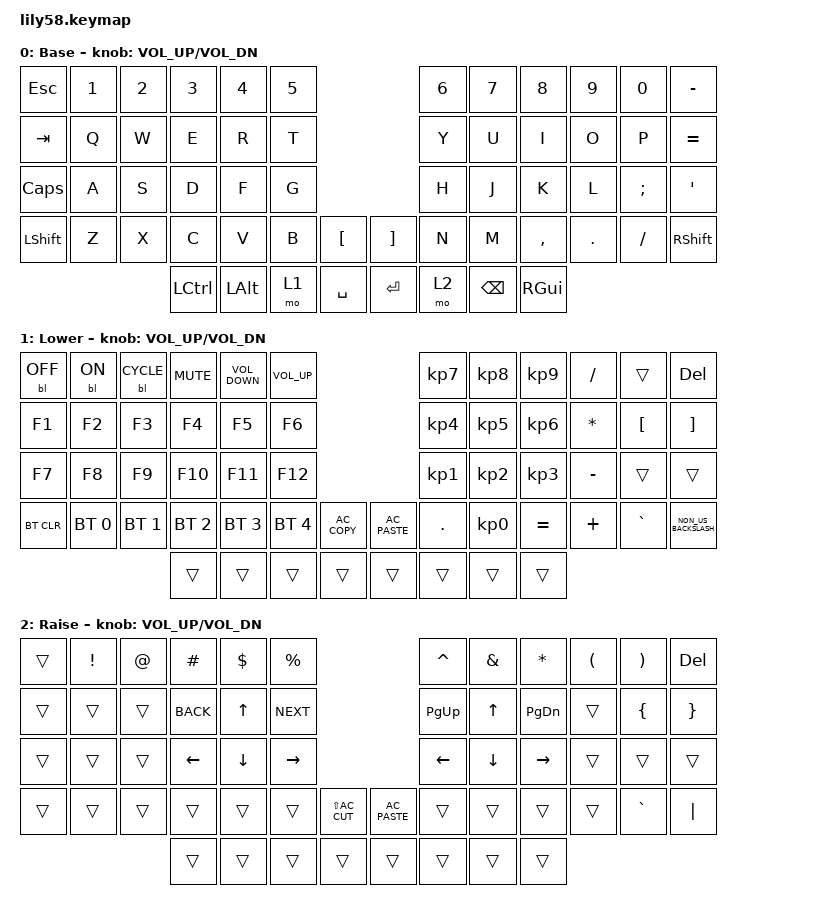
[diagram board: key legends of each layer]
/*
 * Copyright (c) 2020 The ZMK Contributors
 *
 * SPDX-License-Identifier: MIT
 */

#include <behaviors.dtsi>
#include <dt-bindings/zmk/backlight.h>
#include <dt-bindings/zmk/bt.h>
#include <dt-bindings/zmk/keys.h>

/ {
    keymap {
        compatible = "zmk,keymap";

        default_layer {
            // ------------------------------------------------------------------------------------------------------------
            // |  ESC  |  1  |  2  |  3   |  4   |  5   |                   |  6   |  7    |  8    |  9   |   0   |   `   |
            // |  TAB  |  Q  |  W  |  E   |  R   |  T   |                   |  Y   |  U    |  I    |  O   |   P   |   -   |
            // |  CTRL |  A  |  S  |  D   |  F   |  G   |                   |  H   |  J    |  K    |  L   |   ;   |   '   |
            // | SHIFT |  Z  |  X  |  C   |  V   |  B   |   "["  |  |  "]"  |  N   |  M    |  ,    |  .   |   /   | SHIFT |
            //                     | ALT  | GUI  | LOWER|  SPACE |  | ENTER | RAISE| BSPC  | GUI   |

            display-name = "Base";
            bindings = <
&kp ESC    &kp N1  &kp N2  &kp N3            &kp N4        &kp N5                         &kp N6  &kp N7    &kp N8     &kp N9   &kp N0    &kp MINUS
&kp TAB    &kp Q   &kp W   &kp E             &kp R         &kp T                          &kp Y   &kp U     &kp I      &kp O    &kp P     &kp EQUAL
&kp CLCK   &kp A   &kp S   &kp D             &kp F         &kp G                          &kp H   &kp J     &kp K      &kp L    &kp SEMI  &kp SQT
&kp LSHFT  &kp Z   &kp X   &kp C             &kp V         &kp B   &kp LBKT     &kp RBKT  &kp N   &kp M     &kp COMMA  &kp DOT  &kp FSLH  &kp RSHFT
                           &kp LEFT_CONTROL  &kp LEFT_ALT  &mo 1   &kp SPACE    &kp RET   &mo 2   &kp BSPC  &kp RGUI
            >;

            sensor-bindings = <&inc_dec_kp C_VOL_UP C_VOL_DN>;
        };

        lower_layer {
            // ------------------------------------------------------------------------------------------------------------
            // | BTCLR | BT1 | BT2 |  BT3 |  BT4 |  BT5 |                   |      |       |       |      |       |       |
            // |  F1   |  F2 |  F3 |  F4  |  F5  |  F6  |                   |  F7  |  F8   |  F9   |  F10 |  F11  |  F12  |
            // |   `   |  !  |  @  |  #   |  $   |  %   |                   |  ^   |  &    |  *    |  (   |   )   |   ~   |
            // |       |     |     |      |      |      |        |  |       |      |  _    |  +    |  {   |   }   |  "|"  |
            //                     |      |      |      |        |  |       |      |       |       |

            display-name = "Lower";
            bindings = <
&bl BL_OFF  &bl BL_ON     &bl BL_CYCLE  &kp C_MUTE    &kp C_VOLUME_DOWN  &kp C_VOL_UP                                   &kp KP_NUMBER_7  &kp KP_NUMBER_8  &kp KP_NUMBER_9  &kp SLASH     &trans            &kp DELETE
&kp F1      &kp F2        &kp F3        &kp F4        &kp F5             &kp F6                                         &kp KP_NUMBER_4  &kp KP_NUMBER_5  &kp KP_NUMBER_6  &kp ASTERISK  &kp LEFT_BRACKET  &kp RIGHT_BRACKET
&kp F7      &kp F8        &kp F9        &kp F10       &kp F11            &kp F12                                        &kp KP_NUMBER_1  &kp KP_NUMBER_2  &kp KP_NUMBER_3  &kp MINUS     &trans            &trans
&bt BT_CLR  &bt BT_SEL 0  &bt BT_SEL 1  &bt BT_SEL 2  &bt BT_SEL 3       &bt BT_SEL 4  &kp C_AC_COPY    &kp C_AC_PASTE  &kp PERIOD       &kp KP_NUMBER_0  &kp EQUAL        &kp PLUS      &kp GRAVE         &kp NON_US_BACKSLASH
                                        &trans        &trans             &trans        &trans           &trans          &trans           &trans           &trans
            >;

            sensor-bindings = <&inc_dec_kp C_VOL_UP C_VOL_DN>;
        };

        raise_layer {
            // ------------------------------------------------------------------------------------------------------------
            // |       |     |     |      |      |      |                   |      |       |       |      |       |       |
            // |   `   |  1  |  2  |  3   |  4   |  5   |                   |  6   |   7   |   8   |  9   |   0   |       |
            // |   F1  |  F2 |  F3 |  F4  |  F5  |  F6  |                   |      |   <-  |   v   |  ^   |  ->   |       |
            // |   F7  |  F8 |  F9 |  F10 |  F11 |  F12 |        |  |       |  +   |   -   |   =   |  [   |   ]   |   \   |
            //                     |      |      |      |        |  |       |      |       |       |

            display-name = "Raise";
            bindings = <
&trans  &kp EXCLAMATION  &kp AT_SIGN  &kp HASH        &kp DOLLAR      &kp PERCENT                                          &kp CARET       &kp AMPERSAND   &kp ASTERISK     &kp LEFT_PARENTHESIS  &kp RIGHT_PARENTHESIS  &kp DELETE
&trans  &trans           &trans       &kp K_BACK      &kp UP_ARROW    &kp K_NEXT                                           &kp PAGE_UP     &kp UP_ARROW    &kp PAGE_DOWN    &trans                &kp LEFT_BRACE         &kp RIGHT_BRACE
&trans  &trans           &trans       &kp LEFT_ARROW  &kp DOWN_ARROW  &kp RIGHT_ARROW                                      &kp LEFT_ARROW  &kp DOWN_ARROW  &kp RIGHT_ARROW  &trans                &trans                 &trans
&trans  &trans           &trans       &trans          &trans          &trans           &kp LS(C_AC_CUT)    &kp C_AC_PASTE  &trans          &trans          &trans           &trans                &kp GRAVE              &kp PIPE
                                      &trans          &trans          &trans           &trans              &trans          &trans          &trans          &trans
            >;

            sensor-bindings = <&inc_dec_kp C_VOL_UP C_VOL_DN>;
        };
    };
};
